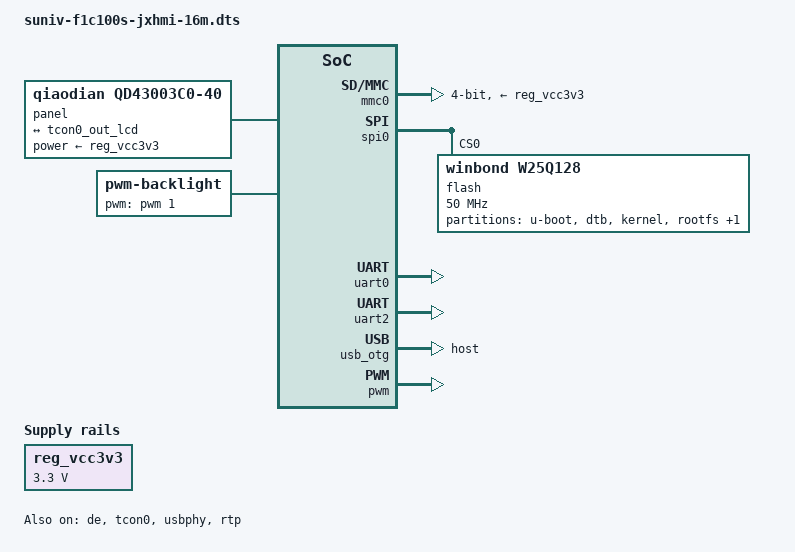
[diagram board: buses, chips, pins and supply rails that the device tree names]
// SPDX-License-Identifier: (GPL-2.0+ OR X11)
/*
 * Copyright 2018 Icenowy Zheng <icenowy@aosc.io>
 */

/dts-v1/;
#include "suniv-f1c100s-licheepi-nano.dts"

#include <dt-bindings/gpio/gpio.h>
#include <dt-bindings/pwm/pwm.h>

/ {
	panel: panel {
		compatible = "qiaodian,qd43003c0-40", "simple-panel";
		#address-cells = <1>;
		#size-cells = <0>;
		power-supply = <&reg_vcc3v3>;
		port@0 {
			reg = <0>;
			#address-cells = <1>;
			#size-cells = <0>;

			panel_input: endpoint@0 {
				reg = <0>;
				remote-endpoint = <&tcon0_out_lcd>;
			};
		};
	};

	reg_vcc3v3: vcc3v3 {
		compatible = "regulator-fixed";
		regulator-name = "vcc3v3";
		regulator-min-microvolt = <3300000>;
		regulator-max-microvolt = <3300000>;
	};
	
	backlight {
		compatible = "pwm-backlight";
		pwms = <&pwm 1 500000 0>;
		brightness-levels = <0 4 8 16 32 64 128 255>;
		default-brightness-level = <0>;
	};
};

&de {
	status = "okay";
};

&mmc0 {
	vmmc-supply = <&reg_vcc3v3>;
	bus-width = <4>;
	broken-cd;
	status = "okay";
};

&otg_sram {
	status = "okay";
};

&spi0 {
	pinctrl-names = "default";
	pinctrl-0 = <&spi0_pins_a>;
	status = "okay";

	flash@0 {
		#address-cells = <1>;
		#size-cells = <1>;
		compatible = "winbond,w25q128", "jedec,spi-nor";
		reg = <0>;
		spi-max-frequency = <50000000>;
		partitions {
			compatible = "fixed-partitions";
			#address-cells = <1>;
			#size-cells = <1>;

			partition@0 {
				label = "u-boot";
				reg = <0x000000 0x40000>;
				read-only;
			};

			partition@40000 {
				label = "dtb";
				reg = <0x40000 0x10000>;
				read-only;
			};

			partition@50000 {
				label = "kernel";
				reg = <0x50000 0x230000>;
				read-only;
			};

			partition@280000 {
				label = "rootfs";
				reg = <0x280000 0xd00000>;
			};

			partition@f80000 {
				label = "overlay";
				reg = <0xf80000 0x80000>;
			};
		};
	};
};

&tcon0 {
	pinctrl-names = "default";
	pinctrl-0 = <&lcd_rgb666_pins>;
	status = "okay";
	swap-red-blue;
};

&tcon0_out {
	tcon0_out_lcd: endpoint@0 {
		reg = <0>;
		remote-endpoint = <&panel_input>;
	};
};

&uart0 {
	pinctrl-names = "default";
	pinctrl-0 = <&uart0_pe_pins>;
	status = "okay";
};
&uart2 {
	pinctrl-names = "default";
	pinctrl-0 = <&uart2_pe_pins>;
	status = "okay";
};

&usb_otg {
	dr_mode = "host";
	status = "okay";
};

&usbphy {
	status = "okay";
};

&pwm {
	pinctrl-names = "default";
	pinctrl-0 = <&pwm1_pins>;
	status = "okay";
};

&rtp {
	pinctrl-names = "default";
	pinctrl-0 = <&rtp_pins>;
	status = "okay";
};

